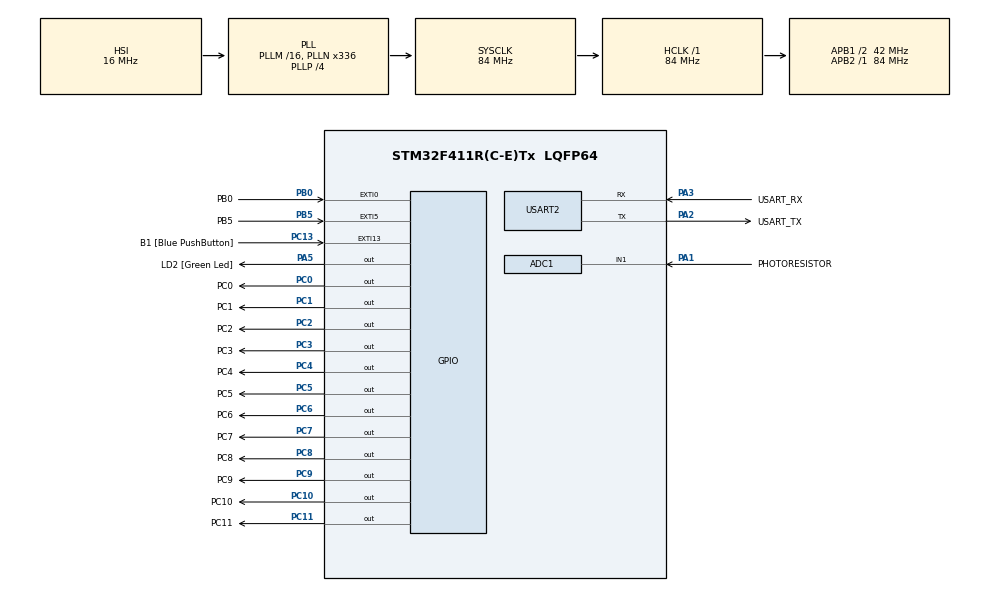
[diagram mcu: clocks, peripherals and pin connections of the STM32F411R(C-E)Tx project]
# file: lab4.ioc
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ADC1.Channel-0\#ChannelRegularConversion=ADC_CHANNEL_1
ADC1.ContinuousConvMode=DISABLE
ADC1.NbrOfConversion=1
ADC1.NbrOfConversionFlag=1
ADC1.Rank-0\#ChannelRegularConversion=1
ADC1.SamplingTime-0\#ChannelRegularConversion=ADC_SAMPLETIME_480CYCLES
ADC1.master=1
Mcu.Family=STM32F4
Mcu.Name=STM32F411R(C-E)Tx
Mcu.Package=LQFP64
NVIC.ADC_IRQn=true\:0\:0\:false\:false\:true\:true\:true\:true
NVIC.EXTI0_IRQn=true\:0\:0\:false\:false\:true\:true\:true\:true
NVIC.EXTI9_5_IRQn=true\:0\:0\:false\:false\:true\:true\:true\:true
NVIC.PriorityGroup=NVIC_PRIORITYGROUP_0
NVIC.TIM1_TRG_COM_TIM11_IRQn=true\:0\:0\:false\:false\:true\:true\:true\:true
NVIC.TIM1_UP_TIM10_IRQn=true\:0\:0\:false\:false\:true\:true\:true\:true
PA1.GPIO_Label=PHOTORESISTOR
PA1.Signal=ADCx_IN1
PA13.GPIO_Label=TMS
PA13.Mode=Serial_Wire
PA13.Signal=SYS_JTMS-SWDIO
PA14.GPIO_Label=TCK
PA14.Mode=Serial_Wire
PA14.Signal=SYS_JTCK-SWCLK
PA2.GPIO_Label=USART_TX
PA2.Mode=Asynchronous
PA2.Signal=USART2_TX
PA3.GPIO_Label=USART_RX
PA3.Mode=Asynchronous
PA3.Signal=USART2_RX
PA5.GPIO_Label=LD2 [Green Led]
PA5.Signal=GPIO_Output
PB0.GPIO_Label=PB0
PB0.GPIO_ModeDefaultEXTI=GPIO_MODE_IT_FALLING
PB0.GPIO_PuPd=GPIO_PULLUP
PB0.Signal=GPXTI0
PB3.GPIO_Label=SWO
PB3.Signal=SYS_JTDO-SWO
PB5.GPIO_Label=PB5
PB5.GPIO_ModeDefaultEXTI=GPIO_MODE_IT_FALLING
PB5.GPIO_PuPd=GPIO_PULLUP
PB5.Signal=GPXTI5
PC0.GPIO_Label=PC0
PC0.Signal=GPIO_Output
PC1.GPIO_Label=PC1
PC1.Signal=GPIO_Output
PC10.GPIO_Label=PC10
PC10.Signal=GPIO_Output
PC11.GPIO_Label=PC11
PC11.Signal=GPIO_Output
PC13-ANTI_TAMP.GPIO_Label=B1 [Blue PushButton]
PC13-ANTI_TAMP.GPIO_ModeDefaultEXTI=GPIO_MODE_IT_FALLING
PC13-ANTI_TAMP.Signal=GPXTI13
PC14-OSC32_IN.Mode=LSE-External-Oscillator
PC14-OSC32_IN.Signal=RCC_OSC32_IN
PC15-OSC32_OUT.Mode=LSE-External-Oscillator
PC15-OSC32_OUT.Signal=RCC_OSC32_OUT
PC2.GPIO_Label=PC2
PC2.Signal=GPIO_Output
PC3.GPIO_Label=PC3
PC3.Signal=GPIO_Output
PC4.GPIO_Label=PC4
PC4.Signal=GPIO_Output
PC5.GPIO_Label=PC5
PC5.Signal=GPIO_Output
PC6.GPIO_Label=PC6
PC6.Signal=GPIO_Output
PC7.GPIO_Label=PC7
PC7.Signal=GPIO_Output
PC8.GPIO_Label=PC8
PC8.Signal=GPIO_Output
PC9.GPIO_Label=PC9
PC9.Signal=GPIO_Output
PH0\ -\ OSC_IN.Mode=HSE-External-Clock-Source
PH0\ -\ OSC_IN.Signal=RCC_OSC_IN
PH1\ -\ OSC_OUT.Mode=HSE-External-Clock-Source
PH1\ -\ OSC_OUT.Signal=RCC_OSC_OUT
ProjectManager.HeapSize=0x200
ProjectManager.StackSize=0x400
ProjectManager.TargetToolchain=STM32CubeIDE
RCC.48MHZClocksFreq_Value=84000000
RCC.AHBFreq_Value=84000000
RCC.APB1CLKDivider=RCC_HCLK_DIV2
RCC.APB1Freq_Value=42000000
RCC.APB1TimFreq_Value=84000000
RCC.APB2Freq_Value=84000000
RCC.APB2TimFreq_Value=84000000
RCC.CortexFreq_Value=84000000
RCC.FLatency-AdvancedSettings=FLASH_LATENCY_2
RCC.HCLKFreq_Value=84000000
RCC.HSE_VALUE=8000000
RCC.HSI_VALUE=16000000
RCC.PLLN=336
RCC.PLLP=RCC_PLLP_DIV4
RCC.SYSCLKFreq_VALUE=84000000
RCC.SYSCLKSource=RCC_SYSCLKSOURCE_PLLCLK
RCC.VCOOutputFreq_Value=336000000
SH.ADCx_IN1.0=ADC1_IN1,IN1
TIM10.Period=999
TIM10.Prescaler=8399
TIM11.Period=25
TIM11.Prescaler=8399
USART2.VirtualMode=VM_ASYNC
VP_TIM10_VS_ClockSourceINT.Mode=Enable_Timer
VP_TIM11_VS_ClockSourceINT.Mode=Enable_Timer
board=NUCLEO-F411RE

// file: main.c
/* USER CODE BEGIN Header */
/**
  ******************************************************************************
  * @file           : main.c
  * @brief          : Main program body
  ******************************************************************************
  * @attention
  *
  * Copyright (c) 2023 STMicroelectronics.
  * All rights reserved.
  *
  * This software is licensed under terms that can be found in the LICENSE file
  * in the root directory of this software component.
  * If no LICENSE file comes with this software, it is provided AS-IS.
  *
  ******************************************************************************
  */
/* USER CODE END Header */
#include "main.h"

ADC_HandleTypeDef hadc1;

TIM_HandleTypeDef htim10;
TIM_HandleTypeDef htim11;

UART_HandleTypeDef huart2;

void SystemClock_Config(void);
static void MX_GPIO_Init(void);
static void MX_USART2_UART_Init(void);
static void MX_TIM11_Init(void);
static void MX_ADC1_Init(void);
static void MX_TIM10_Init(void);
/* USER CODE BEGIN PFP */
volatile uint16_t number;
volatile uint16_t counter;
volatile uint8_t jed;
volatile uint8_t dzi;
volatile uint8_t set;
volatile uint8_t tys;

volatile uint32_t t2;
volatile uint32_t t1;
//volatile uint8_t display_number;

volatile uint16_t ADCRes;

void get_number(uint16_t number)
{
	switch(number)
	{
	case 0:
		HAL_GPIO_WritePin(GPIOC, GPIO_PIN_6, GPIO_PIN_SET);
		HAL_GPIO_WritePin(GPIOC, GPIO_PIN_4, GPIO_PIN_SET);
		HAL_GPIO_WritePin(GPIOC, GPIO_PIN_3, GPIO_PIN_SET);
		HAL_GPIO_WritePin(GPIOC, GPIO_PIN_1, GPIO_PIN_SET);
		HAL_GPIO_WritePin(GPIOC, GPIO_PIN_2, GPIO_PIN_SET);
		HAL_GPIO_WritePin(GPIOC, GPIO_PIN_5, GPIO_PIN_SET);
		HAL_GPIO_WritePin(GPIOC, GPIO_PIN_0, GPIO_PIN_RESET);
		break;

	case 1:
		HAL_GPIO_WritePin(GPIOC, GPIO_PIN_4, GPIO_PIN_SET);
		HAL_GPIO_WritePin(GPIOC, GPIO_PIN_3, GPIO_PIN_SET);
		HAL_GPIO_WritePin(GPIOC, GPIO_PIN_0, GPIO_PIN_RESET);
		HAL_GPIO_WritePin(GPIOC, GPIO_PIN_1, GPIO_PIN_RESET);
		HAL_GPIO_WritePin(GPIOC, GPIO_PIN_2, GPIO_PIN_RESET);
		HAL_GPIO_WritePin(GPIOC, GPIO_PIN_5, GPIO_PIN_RESET);
		HAL_GPIO_WritePin(GPIOC, GPIO_PIN_6, GPIO_PIN_RESET);
		break;
	case 2:
	   HAL_GPIO_WritePin(GPIOC, GPIO_PIN_4, GPIO_PIN_SET);
	   HAL_GPIO_WritePin(GPIOC, GPIO_PIN_6, GPIO_PIN_SET);
	   HAL_GPIO_WritePin(GPIOC, GPIO_PIN_0, GPIO_PIN_SET);
	   HAL_GPIO_WritePin(GPIOC, GPIO_PIN_2, GPIO_PIN_SET);
	   HAL_GPIO_WritePin(GPIOC, GPIO_PIN_1, GPIO_PIN_SET);
	   HAL_GPIO_WritePin(GPIOC, GPIO_PIN_3, GPIO_PIN_RESET);
	   HAL_GPIO_WritePin(GPIOC, GPIO_PIN_5, GPIO_PIN_RESET);
	   break;
	case 3:
		HAL_GPIO_WritePin(GPIOC, GPIO_PIN_4, GPIO_PIN_SET);
		HAL_GPIO_WritePin(GPIOC, GPIO_PIN_6, GPIO_PIN_SET);
		HAL_GPIO_WritePin(GPIOC, GPIO_PIN_0, GPIO_PIN_SET);
		HAL_GPIO_WritePin(GPIOC, GPIO_PIN_3, GPIO_PIN_SET);
		HAL_GPIO_WritePin(GPIOC, GPIO_PIN_1, GPIO_PIN_SET);
		HAL_GPIO_WritePin(GPIOC, GPIO_PIN_2, GPIO_PIN_RESET);
		HAL_GPIO_WritePin(GPIOC, GPIO_PIN_5, GPIO_PIN_RESET);
		break;
	case 4:
		HAL_GPIO_WritePin(GPIOC, GPIO_PIN_5, GPIO_PIN_SET);
		HAL_GPIO_WritePin(GPIOC, GPIO_PIN_0, GPIO_PIN_SET);
		HAL_GPIO_WritePin(GPIOC, GPIO_PIN_4, GPIO_PIN_SET);
		HAL_GPIO_WritePin(GPIOC, GPIO_PIN_3, GPIO_PIN_SET);
		HAL_GPIO_WritePin(GPIOC, GPIO_PIN_1, GPIO_PIN_RESET);
		HAL_GPIO_WritePin(GPIOC, GPIO_PIN_2, GPIO_PIN_RESET);
		HAL_GPIO_WritePin(GPIOC, GPIO_PIN_6, GPIO_PIN_RESET);
		break;
	case 5:
		HAL_GPIO_WritePin(GPIOC, GPIO_PIN_6, GPIO_PIN_SET);
		HAL_GPIO_WritePin(GPIOC, GPIO_PIN_5, GPIO_PIN_SET);
		HAL_GPIO_WritePin(GPIOC, GPIO_PIN_0, GPIO_PIN_SET);
		HAL_GPIO_WritePin(GPIOC, GPIO_PIN_3, GPIO_PIN_SET);
		HAL_GPIO_WritePin(GPIOC, GPIO_PIN_1, GPIO_PIN_SET);
		HAL_GPIO_WritePin(GPIOC, GPIO_PIN_2, GPIO_PIN_RESET);
		HAL_GPIO_WritePin(GPIOC, GPIO_PIN_4, GPIO_PIN_RESET);
		break;
	case 6:
		HAL_GPIO_WritePin(GPIOC, GPIO_PIN_6, GPIO_PIN_SET);
		HAL_GPIO_WritePin(GPIOC, GPIO_PIN_5, GPIO_PIN_SET);
		HAL_GPIO_WritePin(GPIOC, GPIO_PIN_3, GPIO_PIN_SET);
		HAL_GPIO_WritePin(GPIOC, GPIO_PIN_2, GPIO_PIN_SET);
		HAL_GPIO_WritePin(GPIOC, GPIO_PIN_1, GPIO_PIN_SET);
		HAL_GPIO_WritePin(GPIOC, GPIO_PIN_0, GPIO_PIN_SET);
		HAL_GPIO_WritePin(GPIOC, GPIO_PIN_4, GPIO_PIN_RESET);
		break;
	case 7:
		HAL_GPIO_WritePin(GPIOC, GPIO_PIN_6, GPIO_PIN_SET);
		HAL_GPIO_WritePin(GPIOC, GPIO_PIN_4, GPIO_PIN_SET);
		HAL_GPIO_WritePin(GPIOC, GPIO_PIN_3, GPIO_PIN_SET);
		HAL_GPIO_WritePin(GPIOC, GPIO_PIN_0, GPIO_PIN_RESET);
		HAL_GPIO_WritePin(GPIOC, GPIO_PIN_1, GPIO_PIN_RESET);
		HAL_GPIO_WritePin(GPIOC, GPIO_PIN_2, GPIO_PIN_RESET);
		HAL_GPIO_WritePin(GPIOC, GPIO_PIN_5, GPIO_PIN_RESET);
		break;
	case 8:
		HAL_GPIO_WritePin(GPIOC, GPIO_PIN_6, GPIO_PIN_SET);
		HAL_GPIO_WritePin(GPIOC, GPIO_PIN_5, GPIO_PIN_SET);
		HAL_GPIO_WritePin(GPIOC, GPIO_PIN_4, GPIO_PIN_SET);
		HAL_GPIO_WritePin(GPIOC, GPIO_PIN_3, GPIO_PIN_SET);
		HAL_GPIO_WritePin(GPIOC, GPIO_PIN_2, GPIO_PIN_SET);
		HAL_GPIO_WritePin(GPIOC, GPIO_PIN_1, GPIO_PIN_SET);
		HAL_GPIO_WritePin(GPIOC, GPIO_PIN_0, GPIO_PIN_SET);
		break;
	case 9:
		HAL_GPIO_WritePin(GPIOC, GPIO_PIN_6, GPIO_PIN_SET);
		HAL_GPIO_WritePin(GPIOC, GPIO_PIN_5, GPIO_PIN_SET);
		HAL_GPIO_WritePin(GPIOC, GPIO_PIN_4, GPIO_PIN_SET);
		HAL_GPIO_WritePin(GPIOC, GPIO_PIN_3, GPIO_PIN_SET);
		HAL_GPIO_WritePin(GPIOC, GPIO_PIN_1, GPIO_PIN_SET);
		HAL_GPIO_WritePin(GPIOC, GPIO_PIN_0, GPIO_PIN_SET);
		HAL_GPIO_WritePin(GPIOC, GPIO_PIN_2, GPIO_PIN_RESET);
		break;

	default:
		HAL_GPIO_WritePin(GPIOC, GPIO_PIN_6, GPIO_PIN_RESET);
		HAL_GPIO_WritePin(GPIOC, GPIO_PIN_4, GPIO_PIN_RESET);
		HAL_GPIO_WritePin(GPIOC, GPIO_PIN_3, GPIO_PIN_RESET);
		HAL_GPIO_WritePin(GPIOC, GPIO_PIN_1, GPIO_PIN_RESET);
		HAL_GPIO_WritePin(GPIOC, GPIO_PIN_2, GPIO_PIN_RESET);
		HAL_GPIO_WritePin(GPIOC, GPIO_PIN_5, GPIO_PIN_RESET);
		HAL_GPIO_WritePin(GPIOC, GPIO_PIN_0, GPIO_PIN_RESET);
		break;
	}

}

void HAL_TIM_PeriodElapsedCallback(TIM_HandleTypeDef *htim)
{
	if (htim->Instance == TIM11){
//		HAL_GPIO_TogglePin(LD2_GPIO_Port, LD2_Pin);

		// Wyłączanie wyświetlaczy
		HAL_GPIO_WritePin(GPIOC, GPIO_PIN_8, GPIO_PIN_SET);
		HAL_GPIO_WritePin(GPIOC, GPIO_PIN_9, GPIO_PIN_SET);
		HAL_GPIO_WritePin(GPIOC, GPIO_PIN_10, GPIO_PIN_SET);
		HAL_GPIO_WritePin(GPIOC, GPIO_PIN_11, GPIO_PIN_SET);
		//Przekodowanie liczby

		switch(counter)

		{
		case(3):
			get_number(jed);
			HAL_GPIO_WritePin(GPIOC, GPIO_PIN_8, GPIO_PIN_RESET);
			HAL_GPIO_WritePin(GPIOC, GPIO_PIN_9, GPIO_PIN_SET);
			HAL_GPIO_WritePin(GPIOC, GPIO_PIN_10, GPIO_PIN_SET);
			HAL_GPIO_WritePin(GPIOC, GPIO_PIN_11, GPIO_PIN_SET);

			break;
		case(2):
			if (tys == 0 && set == 0 && dzi == 0)
			{
				HAL_GPIO_WritePin(GPIOC, GPIO_PIN_8, GPIO_PIN_SET);
				HAL_GPIO_WritePin(GPIOC, GPIO_PIN_9, GPIO_PIN_SET);
				HAL_GPIO_WritePin(GPIOC, GPIO_PIN_10, GPIO_PIN_SET);
				HAL_GPIO_WritePin(GPIOC, GPIO_PIN_11, GPIO_PIN_SET);
			}
			else
			{
			get_number(dzi);
			HAL_GPIO_WritePin(GPIOC, GPIO_PIN_8, GPIO_PIN_SET);
			HAL_GPIO_WritePin(GPIOC, GPIO_PIN_9, GPIO_PIN_RESET);
			HAL_GPIO_WritePin(GPIOC, GPIO_PIN_10, GPIO_PIN_SET);
			HAL_GPIO_WritePin(GPIOC, GPIO_PIN_11, GPIO_PIN_SET);

			break;
			}
		case(1):
			if (tys == 0 && set == 0)
			{
				HAL_GPIO_WritePin(GPIOC, GPIO_PIN_8, GPIO_PIN_SET);
				HAL_GPIO_WritePin(GPIOC, GPIO_PIN_9, GPIO_PIN_SET);
				HAL_GPIO_WritePin(GPIOC, GPIO_PIN_10, GPIO_PIN_SET);
				HAL_GPIO_WritePin(GPIOC, GPIO_PIN_11, GPIO_PIN_SET);
			}
			else
			{
			get_number(set);
			HAL_GPIO_WritePin(GPIOC, GPIO_PIN_8, GPIO_PIN_SET);
			HAL_GPIO_WritePin(GPIOC, GPIO_PIN_9, GPIO_PIN_SET);
			HAL_GPIO_WritePin(GPIOC, GPIO_PIN_10, GPIO_PIN_RESET);
			HAL_GPIO_WritePin(GPIOC, GPIO_PIN_11, GPIO_PIN_SET);

			break;
			}
		case(0):

			if (tys == 0)
			{
				HAL_GPIO_WritePin(GPIOC, GPIO_PIN_8, GPIO_PIN_SET);
				HAL_GPIO_WritePin(GPIOC, GPIO_PIN_9, GPIO_PIN_SET);
				HAL_GPIO_WritePin(GPIOC, GPIO_PIN_10, GPIO_PIN_SET);
				HAL_GPIO_WritePin(GPIOC, GPIO_PIN_11, GPIO_PIN_SET);
			}
			else
			{
			get_number(tys);
			HAL_GPIO_WritePin(GPIOC, GPIO_PIN_8, GPIO_PIN_SET);
			HAL_GPIO_WritePin(GPIOC, GPIO_PIN_9, GPIO_PIN_SET);
			HAL_GPIO_WritePin(GPIOC, GPIO_PIN_10, GPIO_PIN_SET);
			HAL_GPIO_WritePin(GPIOC, GPIO_PIN_11, GPIO_PIN_RESET);

			break;
			}
		}
		counter +=1;
		if (counter > 3){
			counter = 0;
			jed = number % 10;
			dzi = (number/10) % 10;
			set = (number/100) % 10;
			tys = number/1000;
		}

	}
	if (htim->Instance == TIM10)
	{
		  HAL_ADC_Start_IT(&hadc1);
	}
}
void HAL_GPIO_EXTI_Callback(uint16_t GPIO_Pin)
{

	if (GPIO_Pin == PB0_Pin)
	{
		t2 = HAL_GetTick();
		if (t2 - t1 > 150)
		{
			if (number == 9999)
			{
				number = 0;
			}
			else
			{
			number++;
			}
			t1 = t2;
		}
	}
	if (GPIO_Pin == PB5_Pin)
	{
		t2 = HAL_GetTick();
		if (t2 - t1 > 150)
		{
			if (number == 0)
			{
				number = 9999;
			}
			else{
			number--;
			}

		}
		t1 = t2;

	}
}

void HAL_ADC_ConvCpltCallback(ADC_HandleTypeDef* hadc)
{
	number =  HAL_ADC_GetValue(hadc);
}

//void devide_number(uint16_t number)
//{
//	if (number < 10) display_number = 1;
//	else if (number < 100) display_number = 2;
//	else if (number < 1000) display_number = 3;
//	else display_number = 4;
//}

/* USER CODE END PFP */

int main(void)
{

  /* MCU Configuration--------------------------------------------------------*/

  /* Reset of all peripherals, Initializes the Flash interface and the Systick. */
  HAL_Init();

  /* Configure the system clock */
  SystemClock_Config();

  /* USER CODE BEGIN SysInit */
  counter = 0;
//  number = 1020;
//  devide_number(number);
  // Przekodowanie liczby

  /* USER CODE END SysInit */

  /* Initialize all configured peripherals */
  MX_GPIO_Init();
  MX_USART2_UART_Init();
  MX_TIM11_Init();
  MX_ADC1_Init();
  MX_TIM10_Init();
  /* USER CODE BEGIN 2 */
  HAL_TIM_Base_Start_IT(&htim10);
  HAL_TIM_Base_Start_IT(&htim11);

  /* USER CODE END 2 */

  /* Infinite loop */
  while (1)
  {

  }
}

void SystemClock_Config(void)
{
  RCC_OscInitTypeDef RCC_OscInitStruct = {0};
  RCC_ClkInitTypeDef RCC_ClkInitStruct = {0};

  /** Configure the main internal regulator output voltage
  */
  __HAL_RCC_PWR_CLK_ENABLE();
  __HAL_PWR_VOLTAGESCALING_CONFIG(PWR_REGULATOR_VOLTAGE_SCALE1);

  /** Initializes the RCC Oscillators according to the specified parameters
  * in the RCC_OscInitTypeDef structure.
  */
  RCC_OscInitStruct.OscillatorType = RCC_OSCILLATORTYPE_HSI;
  RCC_OscInitStruct.HSIState = RCC_HSI_ON;
  RCC_OscInitStruct.HSICalibrationValue = RCC_HSICALIBRATION_DEFAULT;
  RCC_OscInitStruct.PLL.PLLState = RCC_PLL_ON;
  RCC_OscInitStruct.PLL.PLLSource = RCC_PLLSOURCE_HSI;
  RCC_OscInitStruct.PLL.PLLM = 16;
  RCC_OscInitStruct.PLL.PLLN = 336;
  RCC_OscInitStruct.PLL.PLLP = RCC_PLLP_DIV4;
  RCC_OscInitStruct.PLL.PLLQ = 4;
  if (HAL_RCC_OscConfig(&RCC_OscInitStruct) != HAL_OK)
  {
    Error_Handler();
  }

  /** Initializes the CPU, AHB and APB buses clocks
  */
  RCC_ClkInitStruct.ClockType = RCC_CLOCKTYPE_HCLK|RCC_CLOCKTYPE_SYSCLK
                              |RCC_CLOCKTYPE_PCLK1|RCC_CLOCKTYPE_PCLK2;
  RCC_ClkInitStruct.SYSCLKSource = RCC_SYSCLKSOURCE_PLLCLK;
  RCC_ClkInitStruct.AHBCLKDivider = RCC_SYSCLK_DIV1;
  RCC_ClkInitStruct.APB1CLKDivider = RCC_HCLK_DIV2;
  RCC_ClkInitStruct.APB2CLKDivider = RCC_HCLK_DIV1;

  if (HAL_RCC_ClockConfig(&RCC_ClkInitStruct, FLASH_LATENCY_2) != HAL_OK)
  {
    Error_Handler();
  }
}

static void MX_ADC1_Init(void)
{

  ADC_ChannelConfTypeDef sConfig = {0};

  /** Configure the global features of the ADC (Clock, Resolution, Data Alignment and number of conversion)
  */
  hadc1.Instance = ADC1;
  hadc1.Init.ClockPrescaler = ADC_CLOCK_SYNC_PCLK_DIV4;
  hadc1.Init.Resolution = ADC_RESOLUTION_12B;
  hadc1.Init.ScanConvMode = DISABLE;
  hadc1.Init.ContinuousConvMode = DISABLE;
  hadc1.Init.DiscontinuousConvMode = DISABLE;
  hadc1.Init.ExternalTrigConvEdge = ADC_EXTERNALTRIGCONVEDGE_NONE;
  hadc1.Init.ExternalTrigConv = ADC_SOFTWARE_START;
  hadc1.Init.DataAlign = ADC_DATAALIGN_RIGHT;
  hadc1.Init.NbrOfConversion = 1;
  hadc1.Init.DMAContinuousRequests = DISABLE;
  hadc1.Init.EOCSelection = ADC_EOC_SINGLE_CONV;
  if (HAL_ADC_Init(&hadc1) != HAL_OK)
  {
    Error_Handler();
  }

  /** Configure for the selected ADC regular channel its corresponding rank in the sequencer and its sample time.
  */
  sConfig.Channel = ADC_CHANNEL_1;
  sConfig.Rank = 1;
  sConfig.SamplingTime = ADC_SAMPLETIME_480CYCLES;
  if (HAL_ADC_ConfigChannel(&hadc1, &sConfig) != HAL_OK)
  {
    Error_Handler();
  }

}

static void MX_TIM10_Init(void)
{

  htim10.Instance = TIM10;
  htim10.Init.Prescaler = 8399;
  htim10.Init.CounterMode = TIM_COUNTERMODE_UP;
  htim10.Init.Period = 999;
  htim10.Init.ClockDivision = TIM_CLOCKDIVISION_DIV1;
  htim10.Init.AutoReloadPreload = TIM_AUTORELOAD_PRELOAD_DISABLE;
  if (HAL_TIM_Base_Init(&htim10) != HAL_OK)
  {
    Error_Handler();
  }

}

static void MX_TIM11_Init(void)
{

  htim11.Instance = TIM11;
  htim11.Init.Prescaler = 8399;
  htim11.Init.CounterMode = TIM_COUNTERMODE_UP;
  htim11.Init.Period = 25;
  htim11.Init.ClockDivision = TIM_CLOCKDIVISION_DIV1;
  htim11.Init.AutoReloadPreload = TIM_AUTORELOAD_PRELOAD_DISABLE;
  if (HAL_TIM_Base_Init(&htim11) != HAL_OK)
  {
    Error_Handler();
  }

}

static void MX_USART2_UART_Init(void)
{

  huart2.Instance = USART2;
  huart2.Init.BaudRate = 115200;
  huart2.Init.WordLength = UART_WORDLENGTH_8B;
  huart2.Init.StopBits = UART_STOPBITS_1;
  huart2.Init.Parity = UART_PARITY_NONE;
  huart2.Init.Mode = UART_MODE_TX_RX;
  huart2.Init.HwFlowCtl = UART_HWCONTROL_NONE;
  huart2.Init.OverSampling = UART_OVERSAMPLING_16;
  if (HAL_UART_Init(&huart2) != HAL_OK)
  {
    Error_Handler();
  }

}

static void MX_GPIO_Init(void)
{
  GPIO_InitTypeDef GPIO_InitStruct = {0};

  /* GPIO Ports Clock Enable */
  __HAL_RCC_GPIOC_CLK_ENABLE();
  __HAL_RCC_GPIOH_CLK_ENABLE();
  __HAL_RCC_GPIOA_CLK_ENABLE();
  __HAL_RCC_GPIOB_CLK_ENABLE();

  /*Configure GPIO pin Output Level */
  HAL_GPIO_WritePin(GPIOC, PC0_Pin|PC1_Pin|PC2_Pin|PC3_Pin
                          |PC4_Pin|PC5_Pin|PC6_Pin|PC7_Pin
                          |PC8_Pin|PC9_Pin|PC10_Pin|PC11_Pin, GPIO_PIN_RESET);

  /*Configure GPIO pin Output Level */
  HAL_GPIO_WritePin(LD2_GPIO_Port, LD2_Pin, GPIO_PIN_RESET);

  /*Configure GPIO pin : B1_Pin */
  GPIO_InitStruct.Pin = B1_Pin;
  GPIO_InitStruct.Mode = GPIO_MODE_IT_FALLING;
  GPIO_InitStruct.Pull = GPIO_NOPULL;
  HAL_GPIO_Init(B1_GPIO_Port, &GPIO_InitStruct);

  /*Configure GPIO pins : PC0_Pin PC1_Pin PC2_Pin PC3_Pin
                           PC4_Pin PC5_Pin PC6_Pin PC7_Pin
                           PC8_Pin PC9_Pin PC10_Pin PC11_Pin */
  GPIO_InitStruct.Pin = PC0_Pin|PC1_Pin|PC2_Pin|PC3_Pin
                          |PC4_Pin|PC5_Pin|PC6_Pin|PC7_Pin
                          |PC8_Pin|PC9_Pin|PC10_Pin|PC11_Pin;
  GPIO_InitStruct.Mode = GPIO_MODE_OUTPUT_PP;
  GPIO_InitStruct.Pull = GPIO_NOPULL;
  GPIO_InitStruct.Speed = GPIO_SPEED_FREQ_LOW;
  HAL_GPIO_Init(GPIOC, &GPIO_InitStruct);

  /*Configure GPIO pin : LD2_Pin */
  GPIO_InitStruct.Pin = LD2_Pin;
  GPIO_InitStruct.Mode = GPIO_MODE_OUTPUT_PP;
  GPIO_InitStruct.Pull = GPIO_NOPULL;
  GPIO_InitStruct.Speed = GPIO_SPEED_FREQ_LOW;
  HAL_GPIO_Init(LD2_GPIO_Port, &GPIO_InitStruct);

  /*Configure GPIO pins : PB0_Pin PB5_Pin */
  GPIO_InitStruct.Pin = PB0_Pin|PB5_Pin;
  GPIO_InitStruct.Mode = GPIO_MODE_IT_FALLING;
  GPIO_InitStruct.Pull = GPIO_PULLUP;
  HAL_GPIO_Init(GPIOB, &GPIO_InitStruct);

  /* EXTI interrupt init*/
  HAL_NVIC_SetPriority(EXTI0_IRQn, 0, 0);
  HAL_NVIC_EnableIRQ(EXTI0_IRQn);

  HAL_NVIC_SetPriority(EXTI9_5_IRQn, 0, 0);
  HAL_NVIC_EnableIRQ(EXTI9_5_IRQn);

}

void Error_Handler(void)
{
  __disable_irq();
  while (1)
  {
  }
}
